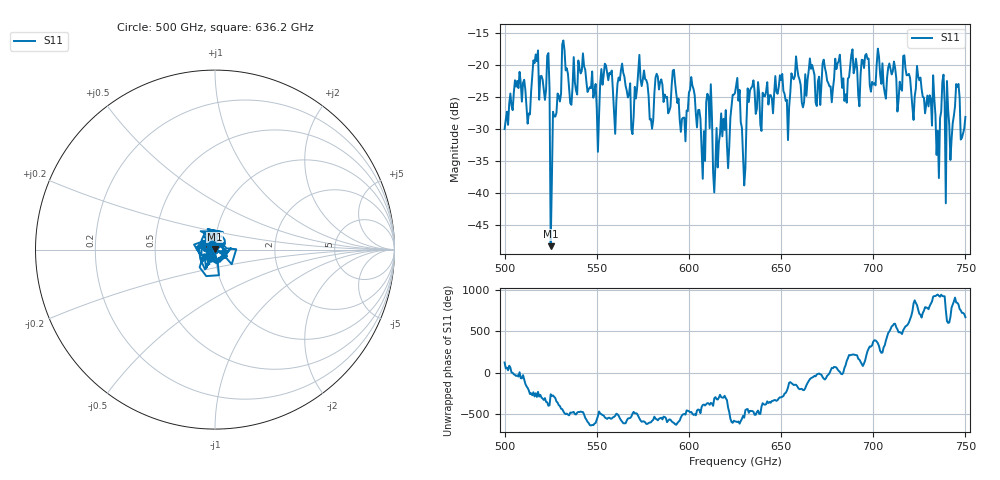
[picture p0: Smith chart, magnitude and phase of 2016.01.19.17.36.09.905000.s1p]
!Created with skrf (http://scikit-rf.org).
# GHz S RI R 50.0
!freq ReS11 ImS11
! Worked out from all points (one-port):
!   401 points, 500 GHz to 750 GHz, reference 50 ohm
!   lowest |S11| = -48.3 dB at 525 GHz (marker M1), VSWR 1.01, Z = 49.9 + j0.381 ohm
!   |S11| at or under -10 dB: start of sweep to end of sweep
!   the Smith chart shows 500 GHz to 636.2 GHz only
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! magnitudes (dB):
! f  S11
! 500 GHz  -30.0
! 506.9 GHz  -22.5
! 513.1 GHz  -27.6
! 516.9 GHz  -18.3
! 523.1 GHz  -18.5
! 525 GHz  -48.3
! 526.2 GHz  -27.3
! 531.2 GHz  -16.8
! 550 GHz  -26.8
! 562.5 GHz  -22.4
! 570 GHz  -28.1
! 573.8 GHz  -22.2
! 579.4 GHz  -28.4
! 583.1 GHz  -21.8
! 593.8 GHz  -25.9
! 601.9 GHz  -23.2
! 607.5 GHz  -37.8
! 610.6 GHz  -24.9
! 614.4 GHz  -35.5
! 625 GHz  -24.4
! 630 GHz  -38.8
! 634.4 GHz  -23.3
! 656.2 GHz  -21.9
! 687.5 GHz  -20.1
! 718.8 GHz  -21.5
! 735 GHz  -30.3
! 737.5 GHz  -22.6
! 750 GHz  -28.1
